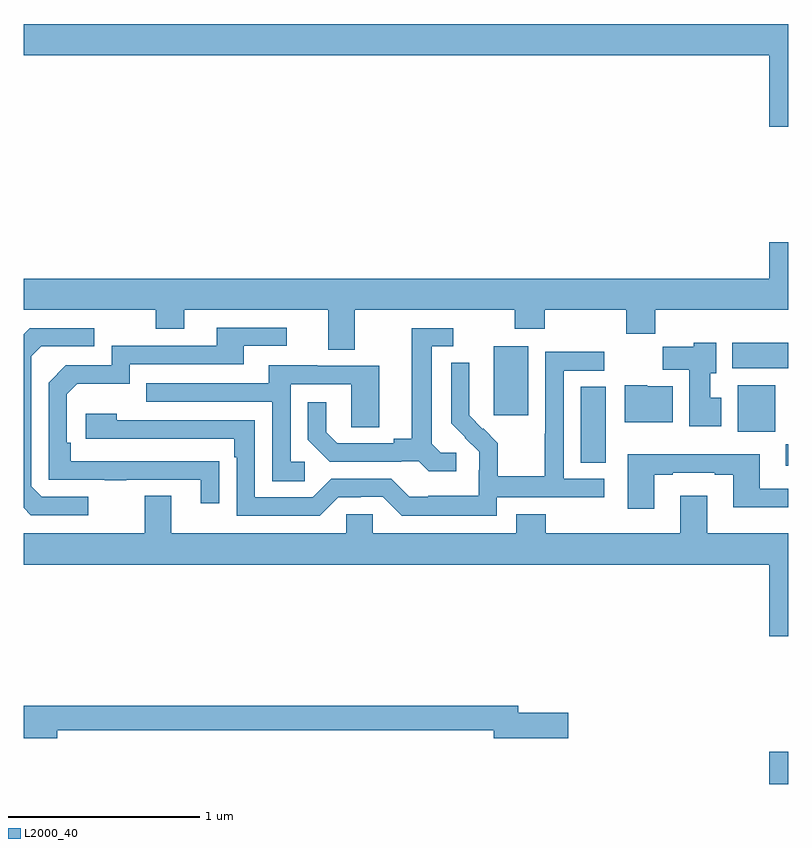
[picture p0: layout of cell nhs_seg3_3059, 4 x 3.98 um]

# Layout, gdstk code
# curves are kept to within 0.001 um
import gdstk
lib = gdstk.Library(unit=1e-6, precision=1e-09)
def R(c, l, rs):  # rectangles x0, y0, x1, y1
    for r in rs: c.add(gdstk.rectangle(r[:2], r[2:], *l))
def P(c, l, *ps):  # polygons
    for p in ps: c.add(gdstk.Polygon(p, *l))
L2000_40 = (2000, 40)

nhs_seg3_3059 = lib.new_cell('nhs_seg3_3059')
R(nhs_seg3_3059, L2000_40, [(272.9,734.4,273,734.569), (272.987,736.065,273,736.178), (271.913,736.081,272.044,736.478), (272.735,736.244,272.932,736.486), (271.46,736.329,271.639,736.69), (272.708,736.574,273,736.708)])
P(nhs_seg3_3059, L2000_40, [(273,738.376),(269,738.376),(269,738.212),(272.9,738.212),(272.9,737.838),(273,737.838)],
  [(270.733,736.88),(271.57,736.88),(271.57,736.781),(271.725,736.781),(271.725,736.88),(272.152,736.88),(272.152,736.756),(272.303,736.756),(272.303,736.88),(273,736.88),(273,737.233),(272.9,737.233),(272.9,737.044),(269,737.044),(269,736.88),(269.692,736.88),(269.692,736.781),(269.839,736.781),(269.839,736.88),(270.593,736.88),(270.593,736.672),(270.733,736.672)],
  [(270.023,736.088),(269.246,736.089),(269.246,736.186),(269.226,736.186),(269.226,736.44),(269.279,736.493),(269.556,736.493),(269.556,736.596),(270.151,736.596),(270.151,736.692),(270.376,736.692),(270.376,736.788),(270.011,736.788),(270.011,736.692),(269.46,736.692),(269.46,736.59),(269.22,736.59),(269.13,736.5),(269.13,735.993),(269.425,735.993),(269.425,735.988),(269.537,735.988),(269.537,735.993),(269.927,735.993),(269.927,735.87),(270.023,735.87)],
  [(269.338,735.903),(269.094,735.903),(269.04,735.957),(269.04,736.638),(269.091,736.689),(269.368,736.689),(269.368,736.785),(269.031,736.785),(269,736.754),(269,735.844),(269.037,735.807),(269.338,735.807)],
  [(271.264,736.134),(271.182,736.134),(271.135,736.181),(271.135,736.689),(271.246,736.689),(271.246,736.785),(271.031,736.785),(271.031,736.205),(270.935,736.205),(270.935,736.182),(270.64,736.182),(270.583,736.239),(270.583,736.396),(270.486,736.396),(270.486,736.202),(270.602,736.086),(270.974,736.086),(270.974,736.089),(271.068,736.089),(271.12,736.037),(271.264,736.037)],
  [(272.65,736.42),(272.593,736.42),(272.593,736.55),(272.623,736.55),(272.623,736.708),(272.505,736.708),(272.505,736.687),(272.344,736.687),(272.344,736.568),(272.483,736.568),(272.483,736.272),(272.65,736.272)],
  [(271.476,735.9),(272.038,735.9),(272.038,735.996),(271.824,735.996),(271.824,736.563),(272.038,736.563),(272.038,736.662),(271.728,736.662),(271.728,736.232),(271.726,736.232),(271.726,736.009),(271.481,736.009),(271.481,736.183),(271.404,736.26),(271.401,736.257),(271.331,736.328),(271.332,736.604),(271.236,736.604),(271.236,736.286),(271.382,736.138),(271.382,736.041),(271.38,736.041),(271.38,735.907),(271.117,735.907),(271.117,735.903),(271.017,735.903),(270.924,735.996),(270.609,735.996),(270.513,735.9),(270.21,735.9),(270.21,736.302),(269.486,736.302),(269.486,736.336),(269.325,736.336),(269.325,736.206),(270.101,736.206),(270.101,736.109),(270.114,736.109),(270.114,735.804),(270.549,735.804),(270.645,735.9),(270.764,735.9),(270.764,735.903),(270.879,735.903),(270.979,735.803),(271.476,735.803)],
  [(270.469,736.086),(270.396,736.086),(270.396,736.491),(270.714,736.491),(270.714,736.267),(270.859,736.267),(270.859,736.587),(270.535,736.587),(270.535,736.591),(270.281,736.591),(270.281,736.497),(269.641,736.497),(269.641,736.401),(270.3,736.401),(270.3,735.985),(270.469,735.985)],
  [(272.395,736.48),(272.262,736.48),(272.262,736.486),(272.144,736.486),(272.144,736.292),(272.395,736.292)],
  [(272.299,736.017),(272.395,736.017),(272.395,736.029),(272.615,736.029),(272.615,736.017),(272.711,736.017),(272.711,735.848),(273,735.848),(273,735.945),(272.851,735.945),(272.851,736.126),(272.159,736.126),(272.159,735.84),(272.299,735.84)],
  [(273,735.712),(272.575,735.712),(272.575,735.907),(272.435,735.907),(272.435,735.712),(271.73,735.712),(271.73,735.811),(271.577,735.811),(271.577,735.712),(270.825,735.712),(270.825,735.81),(270.687,735.81),(270.687,735.712),(269.773,735.712),(269.773,735.907),(269.633,735.907),(269.633,735.712),(269,735.712),(269,735.548),(272.9,735.548),(272.9,735.174),(273,735.174)],
  [(269.176,734.682),(271.46,734.682),(271.46,734.639),(271.849,734.639),(271.849,734.774),(271.588,734.774),(271.588,734.81),(269,734.81),(269,734.639),(269.176,734.639)])

lib.write_gds('nhs_seg3_3059.gds')
